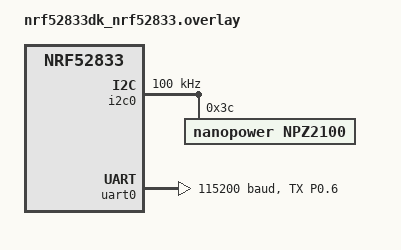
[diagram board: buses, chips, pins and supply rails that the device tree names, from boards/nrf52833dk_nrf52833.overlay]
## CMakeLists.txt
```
# Copyright (c) Nanopower Semiconductor AS
# SPDX-License-Identifier: Apache-2.0
#
# npz2100_sample/CMakeLists.txt
# ------------------------------
# CMake entry point for the nPZ2100 sample application.
# Target: nRF52833 / NCS 3.0.2 / VS Code nRF Connect extension.
#
# The nPZ2100 Zephyr module (npz2100_module/) is referenced via
# ZEPHYR_EXTRA_MODULES so no west.yml changes are required for evaluation.
#
# When promoting to production, add the module to your workspace west.yml
# instead (see npz2100_module/zephyr/module.yml for the manifest snippet).
#
# Building from the VS Code nRF Connect extension:
#   1. Open the npz2100_sample/ folder as the application.
#   2. Add build configuration → board: nrf52833dk/nrf52833.
#   3. The CMake cache entry below adds the module automatically.
#
# Building from the terminal:
#   west build -b nrf52833dk/nrf52833 npz2100_sample/ \
#       -- -DZEPHYR_EXTRA_MODULES=<absolute-path>/npz2100_module

cmake_minimum_required(VERSION 3.20)

# ---- Register the nPZ2100 module ----------------------------------------
#
# ZEPHYR_EXTRA_MODULES tells the Zephyr build system to treat the module
# directory as a West module, loading its zephyr/module.yml automatically.
# This adds the driver, DT bindings, and include paths without modifying
# west.yml or the NCS installation.
#
# The path below is relative to this CMakeLists.txt.  It assumes the
# delivered zip is extracted so that npz2100_module/ and npz2100_sample/
# are siblings - the expected layout:
#
#   npz2100_ncs/
#   ├── npz2100_module/      ← Zephyr module (driver, headers, bindings)
#   └── npz2100_sample/      ← This application (open this in VS Code)
#
# If you move npz2100_module/ elsewhere, update the path below to match.
list(APPEND ZEPHYR_EXTRA_MODULES
    ${CMAKE_CURRENT_SOURCE_DIR}/../npz2100_module
)

find_package(Zephyr REQUIRED HINTS $ENV{ZEPHYR_BASE})

project(npz2100_sample VERSION 1.0.0)

target_sources(app PRIVATE src/main.c)
```

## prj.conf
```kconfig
# Copyright (c) Nanopower Semiconductor AS
# SPDX-License-Identifier: Apache-2.0
#
# sample/prj.conf
# ----------------
# Kconfig for the nPZ2100 sample on nRF52833 / NCS 3.0.2.
#
# No GPIO or interrupt configuration is required.
# The nPZ2100 controls the nRF52833 power supply directly via SW_HP.
# Every nRF52833 boot is caused by the nPZ2100 re-enabling the host switch.

# I²C subsystem (required by the driver)
CONFIG_I2C=y

# nPZ2100 driver
# Auto-selected when DT_HAS_NANOPOWER_NPZ2100_ENABLED is set, but listed
# explicitly here for clarity.
CONFIG_NPZ2100=y
CONFIG_NPZ2100_INIT_PRIORITY=80

# Driver logging (0=OFF 1=ERR 2=WRN 3=INF 4=DBG)
CONFIG_LOG=y
CONFIG_NPZ2100_LOG_LEVEL_INF=y
```

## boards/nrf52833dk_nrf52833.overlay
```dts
/*
 * Copyright (c) Nanopower Semiconductor AS
 * SPDX-License-Identifier: Apache-2.0
 *
 * boards/nrf52833dk_nrf52833.overlay
 * ------------------------------------
 * Devicetree overlay — nPZ2100 on nRF52833 Development Kit (PCA10100).
 *
 * Power architecture
 * ------------------
 * The nPZ2100 controls the nRF52833 host power supply via SW_HP.
 * When idle, the nPZ2100 cuts power to the nRF52833 completely.
 * There is NO interrupt line from nPZ2100 to nRF52833 in this design.
 * Every nRF52833 boot is caused by the nPZ2100 re-enabling SW_HP.
 *
 * Hardware connections (adjust pins to match your PCB schematic):
 *   nPZ2100 SDA  →  P0.26  (default nRF52833DK I²C0 SDA)
 *   nPZ2100 SCL  →  P0.27  (default nRF52833DK I²C0 SCL)
 *   nPZ2100 VBAT →  3.0 V supply rail
 *   nPZ2100 VSS  →  GND
 *
 *   Required bypass capacitors (place close to nPZ2100):
 *     100 nF C0G on VBAT
 *     10 nF  C0G on VDD1V2
 *     10 nF  C0G on VDDD
 *
 * I²C is fixed at 100 kHz to match the nPZ2100 specification.
 * The nPZ2100 factory I²C address is 0x3C.
 */

&i2c0 {
	status = "okay";

	/*
	 * 100 kHz — nPZ2100 maximum rated I²C frequency.
	 * The nRF52833 TWIM peripheral maps I2C_BITRATE_STANDARD to 100 kHz.
	 */
	clock-frequency = <I2C_BITRATE_STANDARD>;

	npz2100: npz2100@3C {
		compatible = "nanopower,npz2100";
		reg = <0x3C>;        /* 7-bit I²C address — adjust if strapped differently */
		label = "NPZ2100";
	};
};

/* Configuração de Pinctrl para definir os pinos do UART0 */
&pinctrl {
	uart0_default: uart0_default {
		group1 {
			psels = <NRF_PSEL(UART_TX, 0, 6)>; /* Remapeie o TX para o pino desejado (ex: P0.06) */
		};
	};

	uart0_sleep: uart0_sleep {
		group1 {
			psels = <NRF_PSEL(UART_TX, 0, 6)>;
			low-power-enable;
		};
	};
};

/* Ativação do periférico UART0 com os novos pinos */
&uart0 {
	status = "okay";
	current-speed = <115200>;
	pinctrl-0 = <&uart0_default>;
	pinctrl-1 = <&uart0_sleep>;
	pinctrl-names = "default", "sleep";
};
```

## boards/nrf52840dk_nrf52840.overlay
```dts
/*
 * Copyright (c) Nanopower Semiconductor AS
 * SPDX-License-Identifier: Apache-2.0
 *
 * boards/nrf52840dk_nrf52840.overlay
 * ------------------------------------
 * Devicetree overlay — nPZ2100 on nRF52840 Development Kit (PCA10056).
 *
 * Power architecture
 * ------------------
 * The nPZ2100 controls the nRF52840 host power supply via SW_HP.
 * When idle, the nPZ2100 cuts power to the nRF52840 completely.
 * There is NO interrupt line from nPZ2100 to nRF52840 in this design.
 * Every nRF52840 boot is caused by the nPZ2100 re-enabling SW_HP.
 *
 * Hardware connections (adjust pins to match your PCB schematic):
 *   nPZ2100 SDA  →  P0.26  (default nRF52840DK I²C0 SDA)
 *   nPZ2100 SCL  →  P0.27  (default nRF52840DK I²C0 SCL)
 *   nPZ2100 VBAT →  3.0 V supply rail
 *   nPZ2100 VSS  →  GND
 *
 *   Required bypass capacitors (place close to nPZ2100):
 *     100 nF C0G on VBAT
 *     10 nF  C0G on VDD1V2
 *     10 nF  C0G on VDDD
 *
 * I²C is fixed at 100 kHz to match the nPZ2100 specification.
 * The nPZ2100 factory I²C address is 0x3C.
 */

&i2c0 {
	status = "okay";

	/*
	 * 100 kHz — nPZ2100 maximum rated I²C frequency.
	 * The nRF52840 TWIM peripheral maps I2C_BITRATE_STANDARD to 100 kHz.
	 */
	clock-frequency = <I2C_BITRATE_STANDARD>;

	npz2100: npz2100@3C {
		compatible = "nanopower,npz2100";
		reg = <0x3C>;        /* 7-bit I²C address — adjust if strapped differently */
		label = "NPZ2100";
	};
};

&pinctrl {
	uart0_default: uart0_default {
		group1 {
			psels = <NRF_PSEL(UART_TX, 0, 6)>;
		};
	};

	uart0_sleep: uart0_sleep {
		group1 {
			psels = <NRF_PSEL(UART_TX, 0, 6)>;
			low-power-enable;
		};
	};
};

&uart0 {
	status = "okay";
	current-speed = <115200>;
	pinctrl-0 = <&uart0_default>;
	pinctrl-1 = <&uart0_sleep>;
	pinctrl-names = "default", "sleep";
};
```

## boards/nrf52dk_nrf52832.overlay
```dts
&arduino_i2c {
	status = "okay";

	/*
	 * 100 kHz — nPZ2100 maximum rated I²C frequency.
	 * The nRF52840 TWIM peripheral maps I2C_BITRATE_STANDARD to 100 kHz.
	 */
	clock-frequency = <I2C_BITRATE_STANDARD>;

	npz2100: npz2100@3C {
		compatible = "nanopower,npz2100";
		reg = <0x3C>;        /* 7-bit I²C address — adjust if strapped differently */
		label = "NPZ2100";
	};
};

&pinctrl {
	uart0_default: uart0_default {
		group1 {
			psels = <NRF_PSEL(UART_TX, 0, 6)>;
		};
	};

	uart0_sleep: uart0_sleep {
		group1 {
			psels = <NRF_PSEL(UART_TX, 0, 6)>;
			low-power-enable;
		};
	};
};

&uart0 {
	status = "okay";
	current-speed = <115200>;
	pinctrl-0 = <&uart0_default>;
	pinctrl-1 = <&uart0_sleep>;
	pinctrl-names = "default", "sleep";
};
```

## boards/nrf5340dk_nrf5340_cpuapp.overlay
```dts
&arduino_i2c {
	status = "okay";

	/*
	 * 100 kHz — nPZ2100 maximum rated I²C frequency.
	 * The nRF5340 TWIM peripheral maps I2C_BITRATE_STANDARD to 100 kHz.
	 */
	clock-frequency = <I2C_BITRATE_STANDARD>;

	npz2100: npz2100@3C {
		compatible = "nanopower,npz2100";
		reg = <0x3C>;        /* 7-bit I²C address — adjust if strapped differently */
		label = "NPZ2100";
	};
};

&pinctrl {
	uart0_default: uart0_default {
		group1 {
			psels = <NRF_PSEL(UART_TX, 0, 20)>;
		};
	};

	uart0_sleep: uart0_sleep {
		group1 {
			psels = <NRF_PSEL(UART_TX, 0, 20)>;
			low-power-enable;
		};
	};
};

&uart0 {
	status = "okay";
	current-speed = <115200>;
	pinctrl-0 = <&uart0_default>;
	pinctrl-1 = <&uart0_sleep>;
	pinctrl-names = "default", "sleep";
};
```

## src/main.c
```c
/*
 * Copyright (c) Nanopower Semiconductor AS
 * SPDX-License-Identifier: Apache-2.0
 *
 * sample/src/main.c
 * ------------------
 * Reference application for the nPZ2100 driver on nRF52833 / NCS 3.0.2.
 *
 * Power architecture
 * ------------------
 * The nPZ2100 controls the nRF52833 power supply via SW_HP.  When idle
 * the nPZ2100 cuts power to the nRF52833 completely - there is no always-on
 * interrupt line between the two chips.
 *
 * Every boot of this application was caused by the nPZ2100 re-enabling SW_HP
 * in response to a configured trigger.  The first task on every boot is
 * therefore to ask the nPZ2100 why it woke the system up.
 *
 * Required boot sequence (executed unconditionally on every boot):
 *
 *   1. npz2100_boot_status() - read STA1–STA3, kick watchdog, decode reason.
 *   2. npz2100_readback()    - sync shadow from nPZ2100 (retains config
 *                              across nRF52833 power cycles).
 *   3. npz2100_apply_regmap() - write only registers that differ from shadow.
 *   4. Application logic     - handle the wake reason.
 *   5. npz2100_shadow_flush() - push any runtime config changes to device.
 *   6. npz2100_enter_idle()  - hand control back; nRF52833 power cut.
 *
 * The application never reaches the end of main() in normal operation.
 * npz2100_enter_idle() is the final instruction - after it the nPZ2100
 * cuts nRF52833 power and the MCU stops executing.
 */

#include <zephyr/kernel.h>
#include <zephyr/device.h>
#include <zephyr/devicetree.h>
#include <zephyr/logging/log.h>

#include <drivers/npz2100.h>
#include "npz2100_regmap.h"

LOG_MODULE_REGISTER(app, LOG_LEVEL_INF);

/* -------------------------------------------------------------------------
 * Device handle - obtained from the DT node labelled "npz2100".
 * Defined in boards/nrf52833dk_nrf52833.overlay.
 * ---------------------------------------------------------------------- */
static const struct device *const npz2100 =
	DEVICE_DT_GET(DT_NODELABEL(npz2100));

/* -------------------------------------------------------------------------
 * Sensor initialisation commands stored in nPZ2100 SRAM.
 *
 * The nPZ2100 sends these to the sensor autonomously during polling while
 * the nRF52833 is powered off.  Each pair is (register_addr, value).
 * ---------------------------------------------------------------------- */
static const uint8_t sensor_init_cmds[] = {
	0x01, 0x00,   /* TMP117: config register, continuous conversion mode */
};

/* -------------------------------------------------------------------------
 * handle_peripheral_wake
 *
 * Called when a peripheral threshold crossing woke the system.
 * Reads the last sampled value from the nPZ2100 and processes it.
 * ---------------------------------------------------------------------- */
static void handle_peripheral_wake(int slot)
{
	uint16_t raw_value;
	int ret;

	ret = npz2100_periph_read_value(npz2100, (uint8_t)slot, &raw_value);
	if (ret != 0) {
		LOG_ERR("periph_read_value slot %d failed: %d", slot, ret);
		return;
	}

	/*
	 * TMP117 raw value: signed 16-bit, 1 LSB = 0.0078125 °C.
	 * Convert to integer millidegrees for logging without float.
	 */
	int32_t temp_mdeg = (int32_t)(int16_t)raw_value * 78;  /* ×0.0078125 °C × 10000 */

	LOG_INF("Peripheral %d: raw=0x%04X (~%d.%03d °C)",
		slot + 1, raw_value,
		temp_mdeg / 10000, (temp_mdeg % 10000) / 10);
}

/* -------------------------------------------------------------------------
 * handle_battery_low
 *
 * Called when the ADC3 (battery voltage) threshold was crossed.
 * Adjusts polling period to reduce power consumption.
 * ---------------------------------------------------------------------- */
static void handle_battery_low(void)
{
	LOG_WRN("Battery low - increasing polling period to conserve energy");

	/*
	 * Use the typed helper to modify peripheral 1's polling period
	 * in the shadow, then flush to device before re-entering idle.
	 * The change persists across nRF52833 power cycles because the
	 * nPZ2100 retains its register values while idle.
	 */
	npz2100_config_t *shadow = npz2100_get_shadow(npz2100);

	/* Double the polling period: read current value and double it. */
	npz2100_periph_shadow_t *p = &shadow->periph[0];
	uint16_t current_period = (uint16_t)p->perp_l |
				   ((uint16_t)p->perp_h << 8u);
	uint16_t new_period = current_period * 2u;

	if (new_period == 0u) {
		new_period = 2u; /* Clamp to minimum safe value. */
	}

	p->perp_l = (uint8_t)(new_period & 0xFFu);
	p->perp_h = (uint8_t)(new_period >> 8u);

	LOG_INF("Peripheral 1 period: %u → %u system clocks",
		current_period, new_period);

	/* npz2100_shadow_flush() is called in main() after all handlers. */
}

/* -------------------------------------------------------------------------
 * main
 *
 * Executes once per nRF52833 boot (= once per nPZ2100 wake cycle).
 * Does not contain a loop - the final call to npz2100_enter_idle() causes
 * the nPZ2100 to cut power to the nRF52833.
 * ---------------------------------------------------------------------- */
int main(void)
{
	int ret;
	npz2100_wake_reason_t reason;

	LOG_INF("--- nPZ2100 sample boot ---");

	/* ------------------------------------------------------------------ */
	/* 0. Verify the Zephyr device is ready (I²C bus OK, probe passed).   */
	/* ------------------------------------------------------------------ */
	if (!device_is_ready(npz2100)) {
		/*
		 * If the nPZ2100 is not reachable the system cannot re-enter
		 * idle safely.  Loop here so the watchdog fires and the
		 * nPZ2100 power-cycles the nRF52833.
		 */
		LOG_ERR("nPZ2100 device not ready - waiting for watchdog");
		while (true) {
			k_msleep(1000);
		}
	}

	/* ------------------------------------------------------------------ */
	/* 1. Read wake-up reason.  MUST be the first nPZ2100 operation.      */
	/*    Also kicks the nPZ2100 watchdog (STA1/STA2 read resets timer).  */
	/* ------------------------------------------------------------------ */
	ret = npz2100_boot_status(npz2100, &reason);
	if (ret != 0) {
		LOG_ERR("boot_status failed: %d - cannot determine wake reason", ret);
		/* Fall through: still try to re-enter idle. */
	}

	/* ------------------------------------------------------------------ */
	/* 2. Sync shadow from device.                                         */
	/*    The nPZ2100 retains all registers while the nRF52833 is off.    */
	/*    Reading back before applying the regmap ensures the diff is      */
	/*    computed against the device's actual current state.              */
	/* ------------------------------------------------------------------ */
	ret = npz2100_readback(npz2100);
	if (ret != 0) {
		LOG_ERR("readback failed: %d", ret);
	}

	/* ------------------------------------------------------------------ */
	/* 3. Apply desired register map.                                      */
	/*    Only registers that differ from the shadow are written.          */
	/*    On a typical warm boot this is zero I²C transactions.           */
	/* ------------------------------------------------------------------ */
	ret = npz2100_apply_regmap(npz2100, npz2100_regmap, sizeof(npz2100_regmap));
	if (ret != 0) {
		LOG_ERR("apply_regmap failed: %d", ret);
	}

	/* ------------------------------------------------------------------ */
	/* 4. Write sensor initialisation commands to SRAM (first boot only). */
	/*    After the first boot the nPZ2100 retains SRAM, so the diff      */
	/*    in apply_regmap already skipped SRAM_BANK if unchanged - but    */
	/*    SRAM content itself must be written explicitly if needed.        */
	/*                                                                     */
	/*    A production application would check the reset source to decide  */
	/*    whether SRAM needs re-initialising (only on cold/POR boot).      */
	/* ------------------------------------------------------------------ */
	if (reason.rst_src == NPZ2100_RST_SRC_POR && reason.timeout == 0) {
		LOG_INF("Power-on reset detected - writing SRAM init commands");
		ret = npz2100_sram_write(npz2100, 0x00u,
					 sensor_init_cmds,
					 sizeof(sensor_init_cmds));
		if (ret != 0) {
			LOG_ERR("SRAM write failed: %d", ret);
		}
	}

	/* ------------------------------------------------------------------ */
	/* 5. Handle wake reason - application logic.                          */
	/* ------------------------------------------------------------------ */
	bool config_changed = false;

	for (int i = 0; i < 6; i++) {
		if (reason.periph[i]) {
			handle_peripheral_wake(i);
		}
	}

	if (reason.adc3) {
		handle_battery_low();
		config_changed = true;
	}

	if (reason.timeout) {
		/* Periodic time-out: no action needed beyond re-entering idle. */
		LOG_INF("Periodic time-out wake - nothing to process");
	}

	if (reason.alarm) {
		/* Global counter alarm - application-specific handler here. */
		LOG_INF("Time counter alarm fired");
	}

	/* ------------------------------------------------------------------ */
	/* 6. Push runtime config changes to device (if any handler modified   */
	/*    the shadow via npz2100_get_shadow() + typed helpers).            */
	/* ------------------------------------------------------------------ */
	if (config_changed) {
		ret = npz2100_shadow_flush(npz2100);
		if (ret != 0) {
			LOG_ERR("shadow_flush failed: %d", ret);
		}
	}

	/* ------------------------------------------------------------------ */
	/* 7. Re-enter idle.  nPZ2100 will cut nRF52833 power.                */
	/*    This is the last instruction that executes.                      */
	/* ------------------------------------------------------------------ */
	LOG_INF("Returning to idle - nRF52833 power will be cut");

	k_msleep(100);
	
	ret = npz2100_enter_idle(npz2100);

	/*
	 * Reaching here means the I²C write to IDLE_RST failed.
	 * The nPZ2100 watchdog will power-cycle the system after its timeout.
	 */
	LOG_ERR("enter_idle failed: %d - waiting for watchdog", ret);
	while (true) {
		k_msleep(1000);
	}

	return 0; /* unreachable */
}
```

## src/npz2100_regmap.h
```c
#ifndef __NPZ2100_REGMAP
#define __NPZ2100_REGMAP

// nPZ2100 Register Map

static const unsigned char npz2100_regmap[] = {
  // ---- Global configuration registers ----
  10,         // Length
  0x05,       // Start address (IOCFG1 register)
  0x00, // IOCFG1 = 0x00
  0x00, // IOCFG2 = 0x00
  0xFF, // IOCFG3 = 0xFF
  0x00, // IOCFG4 = 0x00
  0x1D, // IOCFG5 = 0x1D
  0x00, // SYSCFG1 = 0x00
  0x00, // SYSCFG2 = 0x00
  0xFF, 0x01, // (TOUT_L/TOUT_H)
};

#endif // __NPZ2100_REGMAP
```
